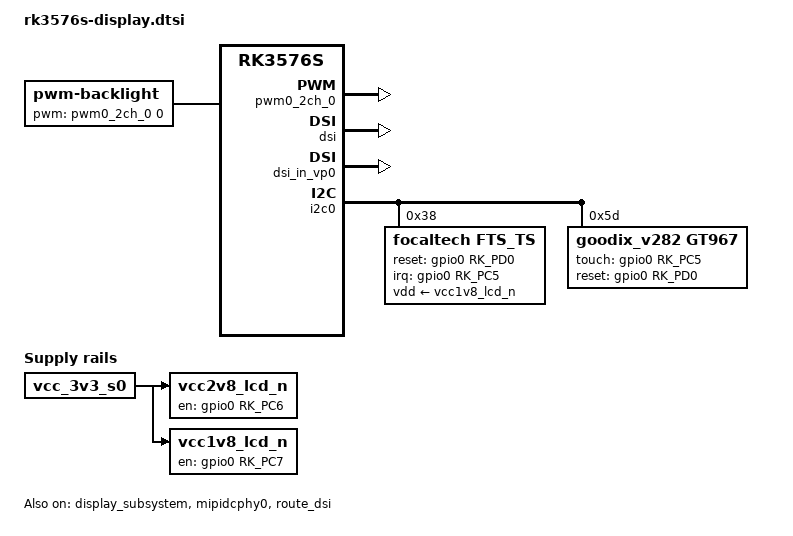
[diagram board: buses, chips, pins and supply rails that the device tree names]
// SPDX-License-Identifier: (GPL-2.0+ OR MIT)

/*
*   RK3576S only has one Vop0 port, 
*   and can only use one of the following ports at a time: 
*   dsi_in_vp0, hdmi_in_vp0, dp0_in_vp0, or edp_in_vpo.
*   Enable MIPI function by default(dsi_in_vp0).
*/

#define ENABLE_MIPI 1
#define ENABLE_HDMI 0
#define ENABLE_EDP  0
#define ENABLE_DP   0

#if ENABLE_MIPI
#include "dsi-panel-ili9881d-720p-video.dtsi"
#include "dsi-panel-NV3052-720p-vido.dtsi"
/ {
	backlight: backlight {
		compatible = "pwm-backlight";
		pwms = <&pwm0_2ch_0 0 25000 0>;
		brightness-levels = <
			  0  20  20  21  21  22  22  23
			 23  24  24  25  25  26  26  27
			 27  28  28  29  29  30  30  31
			 31  32  32  33  33  34  34  35
			 35  36  36  37  37  38  38  39
			 40  41  42  43  44  45  46  47
			 48  49  50  51  52  53  54  55
			 56  57  58  59  60  61  62  63
			 64  65  66  67  68  69  70  71
			 72  73  74  75  76  77  78  79
			 80  81  82  83  84  85  86  87
			 88  89  90  91  92  93  94  95
			 96  97  98  99 100 101 102 103
			104 105 106 107 108 109 110 111
			112 113 114 115 116 117 118 119
			120 121 122 123 124 125 126 127
			128 129 130 131 132 133 134 135
			136 137 138 139 140 141 142 143
			144 145 146 147 148 149 150 151
			152 153 154 155 156 157 158 159
			160 161 162 163 164 165 166 167
			168 169 170 171 172 173 174 175
			176 177 178 179 180 181 182 183
			184 185 186 187 188 189 190 191
			192 193 194 195 196 197 198 199
			200 201 202 203 204 205 206 207
			208 209 210 211 212 213 214 215
			216 217 218 219 220 221 222 223
			224 225 226 227 228 229 230 231
			232 233 234 235 236 237 238 239
			240 241 242 243 244 245 246 247
			248 249 250 251 252 253 254 255
		>;
		default-brightness-level = <200>;
	};

	vcc2v8_lcd_n: vcc2v8-lcd0-n {
		compatible = "regulator-fixed";
		regulator-name = "vcc2v8_lcd_n";
		regulator-always-on;
		regulator-boot-on;
		enable-active-high;
		gpio = <&gpio0 RK_PC6 GPIO_ACTIVE_HIGH>;
		vin-supply = <&vcc_3v3_s0>;
	};

	vcc1v8_lcd_n: vcc1v8-lcd0-n {
		compatible = "regulator-fixed";
		regulator-name = "vcc1v8_lcd_n";
		regulator-always-on;
		regulator-boot-on;
		enable-active-high;
		gpio = <&gpio0 RK_PC7 GPIO_ACTIVE_HIGH>;
		vin-supply = <&vcc_3v3_s0>;
	};
};

&pwm0_2ch_0 {
	status = "okay";
	pinctrl-0 = <&pwm0m0_ch0>;
};

&pinctrl {
	touch {
		touch_gpio: touch-gpio {
			rockchip,pins =
				<0 RK_PD0 RK_FUNC_GPIO &pcfg_pull_up>,
				<0 RK_PC5 RK_FUNC_GPIO &pcfg_pull_up>;
		};
	};

     lcd {
         lcd_rst: lcd-rst {
                 rockchip,pins =
                        <0 RK_PD1 RK_FUNC_GPIO &pcfg_pull_up>;
         };
	};
};

&display_subsystem {
	status = "okay";
	memory-region = <&drm_logo>, <&drm_cubic_lut>;
	memory-region-names = "drm-logo", "drm-cubic-lut";
	/* devfreq = <&dmc>; */
};

/*
 * mipidcphy0 needs to be enabled
 * when dsi is enabled
 */

&mipidcphy0 {
	status = "okay";
};

&dsi {
	status = "okay";
};

&dsi_panel {
       power-supply = <&vcc2v8_lcd_n>;
	   powerio-supply = <&vcc1v8_lcd_n>;
};

&route_dsi {
	status = "okay";
	logo,uboot = "quectel_720p.bmp";
	logo,kernel = "quectel_720p_kernel.bmp";
    connect = <&vp0_out_dsi>;
};

&dsi_in_vp0 {
	status = "okay";
};

&i2c0 {
    pinctrl-0 = <&i2c0m1_xfer>;
	status = "okay";

	focaltech@38{
		status = "okay";
		compatible = "focaltech,fts_ts";
		reg = <0x38>;
		vdd-supply = <&vcc1v8_lcd_n>;
		pinctrl-names = "default";
		pinctrl-0 = <&touch_gpio>;
		focaltech,reset-gpio = <&gpio0 RK_PD0 GPIO_ACTIVE_HIGH>;
		focaltech,irq-gpio = <&gpio0 RK_PC5 IRQ_TYPE_LEVEL_LOW>;
		focaltech,max-touch-number = <5>;
		focaltech,display-coords =  <0 0 720 1280>;
		focaltech,have-key;
		focaltech,key-number = <3>;
		focaltech,keys = <139 172 158>;
		focaltech,key-y-coords = <1340 1340 1340>;
		focaltech,key-x-coords = <150 330 660>;
	};
	gt967@5d {
		status = "okay"; 
		compatible = "goodix_v282,gt967";
		reg = <0x5d>;
		touch-gpio = <&gpio0 RK_PC5 IRQ_TYPE_LEVEL_LOW>;   //int IO
		reset-gpio = <&gpio0 RK_PD0 GPIO_ACTIVE_HIGH>;      //reset io
		max-x = <720>;   //x size 
		max-y = <1280>;  //y size 
		max-w = <512>;
		max-p = <512>;
		max_touch_num = <11>;
		touchscreen-key-map = <139 172 158>;
		goodix,esd-protect = <1>;
		goodix,int-sync = <1>;
			
	};
};
#endif

#if ENABLE_HDMI
&display_subsystem {
	status = "okay";
	clocks = <&hdptxphy_hdmi>;
	clock-names = "hdmi0_phy_pll";
	memory-region = <&drm_logo>, <&drm_cubic_lut>;
	memory-region-names = "drm-logo", "drm-cubic-lut";
	/* devfreq = <&dmc>; */
};

&route_hdmi {
	status = "okay";
	logo,uboot = "quectel_720p.bmp";
    logo,kernel = "quectel_720p_kernel.bmp";
	connect = <&vp0_out_hdmi>;
};

&hdmi_in_vp0 {
	status = "okay";
};

&hdptxphy_hdmi {
	status = "okay";
};

&hdmi {
	status = "okay";
	enable-gpios = <&gpio4 RK_PC6 GPIO_ACTIVE_HIGH>;
	cec-enable = "true";
	rockchip,sda-falling-delay-ns = <360>;
};
#endif


#if ENABLE_DP
&display_subsystem {
	status = "okay";
	memory-region = <&drm_logo>, <&drm_cubic_lut>;
	memory-region-names = "drm-logo", "drm-cubic-lut";
	/* devfreq = <&dmc>; */
};

&dp {
	status = "okay";
	svid = <0xff01>;
};

&dp0 {
	status = "okay";
};

&route_dp0{
	status = "okay";
	logo,uboot = "quectel_720p.bmp";
    logo,kernel = "quectel_720p_kernel.bmp";
	connect = <&vp0_out_dp0>;
};

&dp0_in_vp0 {
	status = "okay";
};

&dp0_sound {
	status = "okay";
};

&usbdp_phy_dp {
	status = "okay";
};

&usbdp_phy_u3 {
	status = "okay";
};
#endif


#if ENABLE_EDP
&display_subsystem {
	status = "okay";
	memory-region = <&drm_logo>, <&drm_cubic_lut>;
	memory-region-names = "drm-logo", "drm-cubic-lut";
	/* devfreq = <&dmc>; */
};

&edp {
	force-hpd;
	status = "okay";
	ports {
		port@1 {
			reg = <1>;
			edp_out_panel: endpoint {
				remote-endpoint = <&panel_in_edp>;
			};
		};
	};
};
	
&route_edp {
	status = "okay";
	logo,uboot  = "quectel_720p.bmp";
	logo,kernel = "quectel_720p_kernel.bmp";
	logo,mode = "fullscreen";
	charge_logo,mode = "fullscreen";
	connect = <&vp0_out_edp>;
};

&edp_in_vp0 { 
    status = "okay"; 
};

&hdptxphy { 
    status = "okay"; 
};

&hdptxphy_hdmi { 
    status = "disabled"; 
};

&pwm1_6ch_1 {
    status = "okay";
    pinctrl-0 = <&pwm1m0_ch1>;   
};

&pinctrl {
    panel-edp0 {
        panel_edp0_en: panel-edp0-en {
            rockchip,pins = <0 RK_PA0 RK_FUNC_GPIO &pcfg_pull_up>;
        };
    };
	backlight2 {
        bl2_en_gpio: bl2-en-gpio {
            rockchip,pins = <4 RK_PC6 RK_FUNC_GPIO &pcfg_pull_up>; 
        };
    };
};

/{
		backlight2: backlight2  {
		compatible = "pwm-backlight";
		status = "okay";
   		pwms = <&pwm1_6ch_1 0 50000  0 0>;  
		pinctrl-0 = <&bl2_en_gpio>;
		brightness-levels = <
			  0  20  20  21  21  22  22  23
			 23  24  24  25  25  26  26  27
			 27  28  28  29  29  30  30  31
			 31  32  32  33  33  34  34  35
			 35  36  36  37  37  38  38  39
			 40  41  42  43  44  45  46  47
			 48  49  50  51  52  53  54  55
			 56  57  58  59  60  61  62  63
			 64  65  66  67  68  69  70  71
			 72  73  74  75  76  77  78  79
			 80  81  82  83  84  85  86  87
			 88  89  90  91  92  93  94  95
			 96  97  98  99 100 101 102 103
			104 105 106 107 108 109 110 111
			112 113 114 115 116 117 118 119
			120 121 122 123 124 125 126 127
			128 129 130 131 132 133 134 135
			136 137 138 139 140 141 142 143
			144 145 146 147 148 149 150 151
			152 153 154 155 156 157 158 159
			160 161 162 163 164 165 166 167
			168 169 170 171 172 173 174 175
			176 177 178 179 180 181 182 183
			184 185 186 187 188 189 190 191
			192 193 194 195 196 197 198 199
			200 201 202 203 204 205 206 207
			208 209 210 211 212 213 214 215
			216 217 218 219 220 221 222 223
			224 225 226 227 228 229 230 231
			232 233 234 235 236 237 238 239
			240 241 242 243 244 245 246 247
			248 249 250 251 252 253 254 255
		>;
		default-brightness-level = <200>;
		enable-gpios = <&gpio4 RK_PC6 GPIO_ACTIVE_LOW>;
	};

	panel-edp0 {
        compatible = "simple-panel";
        backlight = <&backlight2>;
        pinctrl-0 = <&panel_edp0_en>;
        enable-gpios = <&gpio0 RK_PA0 GPIO_ACTIVE_HIGH>;
        connector-type = "eDP";
        bpc = <8>;

        prepare-delay-ms = <20>;   
        enable-delay-ms  = <200>;  
        bl-delay-ms      = <50>;  

        unprepare-delay-ms = <120>;
        disable-delay-ms   = <120>;

        status = "okay";

        display-timings {
            native-mode = <&edp_timing>;
            edp_timing: edp_timing {
                clock-frequency = <270000000>;	
                hactive = <2560>;
                vactive = <1600>;
                
                hfront-porch = <48>;
                hsync-len = <32>;
                hback-porch = <112>;
                
                vfront-porch = <3>;
                vsync-len = <6>;
                vback-porch = <33>;
                
                hsync-active = <0>;
                vsync-active = <0>;
                de-active = <0>;
                pixelclk-active = <0>;
            }; 
        };

            port {
                panel_in_edp: endpoint {
                    remote-endpoint = <&edp_out_panel>;
            };
        };
    };
};
#endif
